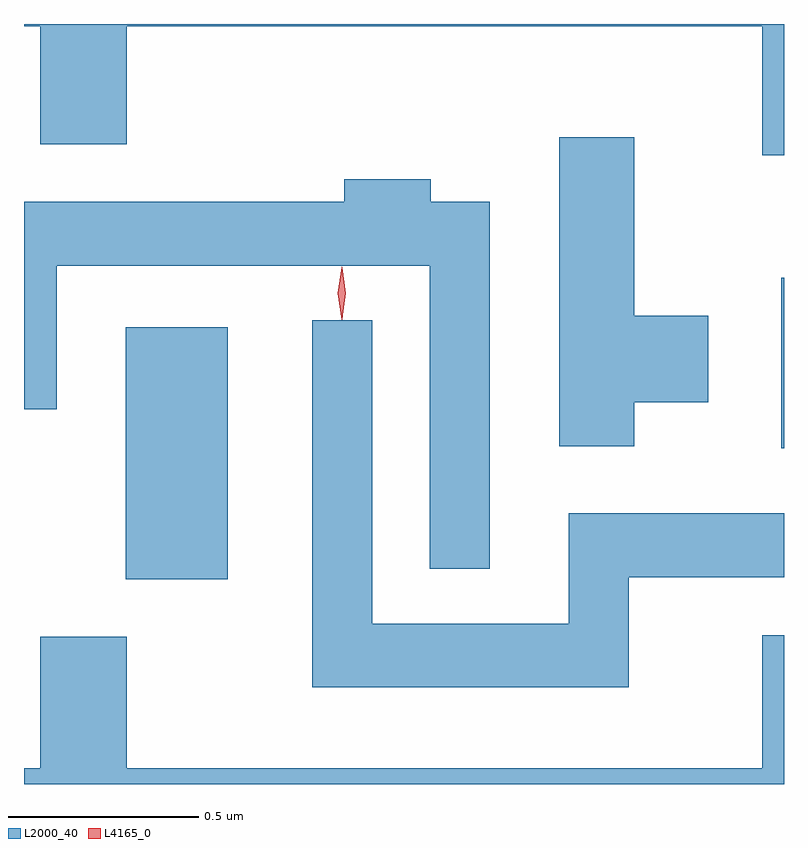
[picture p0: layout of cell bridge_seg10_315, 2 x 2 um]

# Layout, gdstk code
import gdstk
lib = gdstk.Library(unit=1e-6, precision=1e-09)
def R(c, l, rs):  # rectangles x0, y0, x1, y1
    for r in rs: c.add(gdstk.rectangle(r[:2], r[2:], *l))
def P(c, l, *ps):  # polygons
    for p in ps: c.add(gdstk.Polygon(p, *l))
L2000_40 = (2000, 40)
L4165_0 = (4165, 0)

bridge_seg10_315 = lib.new_cell('bridge_seg10_315')
R(bridge_seg10_315, L2000_40, [(1443.666,2172.401,1443.934,2173.064), (1445.391,2172.746,1445.398,2173.194)])
P(bridge_seg10_315, L2000_40, [(1445.398,2173.862),(1443.398,2173.862),(1443.398,2173.856),(1443.441,2173.856),(1443.441,2173.546),(1443.669,2173.546),(1443.669,2173.856),(1445.341,2173.856),(1445.341,2173.516),(1445.398,2173.516)],
  [(1445.004,2172.866),(1445.199,2172.866),(1445.199,2173.094),(1445.004,2173.094),(1445.004,2173.564),(1444.806,2173.564),(1444.806,2172.751),(1445.004,2172.751)],
  [(1444.624,2173.394),(1444.469,2173.394),(1444.469,2173.454),(1444.241,2173.454),(1444.241,2173.394),(1443.398,2173.394),(1443.398,2172.848),(1443.484,2172.848),(1443.484,2173.226),(1444.466,2173.226),(1444.466,2172.428),(1444.624,2172.428)],
  [(1444.989,2172.406),(1445.398,2172.406),(1445.398,2172.574),(1444.831,2172.574),(1444.831,2172.284),(1444.314,2172.284),(1444.314,2173.083),(1444.156,2173.083),(1444.156,2172.116),(1444.989,2172.116)],
  [(1445.398,2172.254),(1445.341,2172.254),(1445.341,2171.904),(1443.669,2171.904),(1443.669,2172.249),(1443.441,2172.249),(1443.441,2171.904),(1443.398,2171.904),(1443.398,2171.862),(1445.398,2171.862)])
P(bridge_seg10_315, L4165_0, [(1444.234,2173.084),(1444.234,2173.084),(1444.224,2173.153),(1444.234,2173.222),(1444.234,2173.223),(1444.235,2173.222),(1444.244,2173.153),(1444.235,2173.084)],
  [(1444.235,2173.087),(1444.234,2173.088),(1444.225,2173.154),(1444.234,2173.22),(1444.235,2173.22),(1444.235,2173.22),(1444.245,2173.154),(1444.235,2173.088)])

lib.write_gds('bridge_seg10_315.gds')
